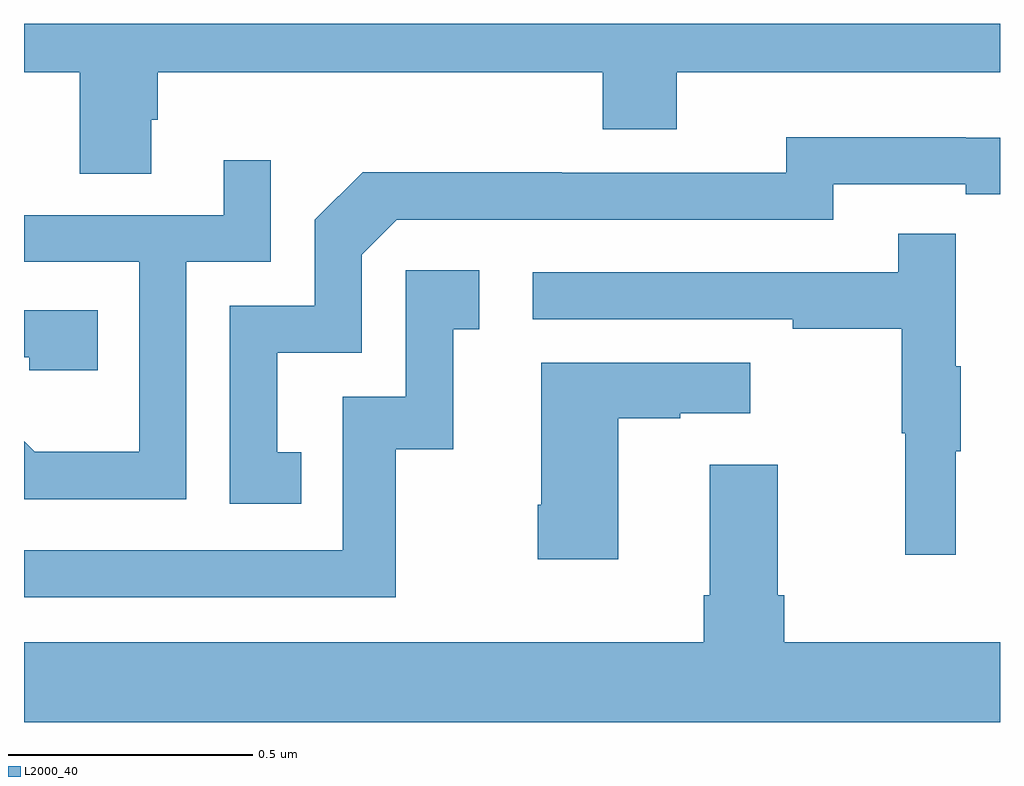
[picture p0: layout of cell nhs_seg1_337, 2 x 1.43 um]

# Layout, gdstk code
import gdstk
lib = gdstk.Library(unit=1e-6, precision=1e-09)
def P(c, l, *ps):  # polygons
    for p in ps: c.add(gdstk.Polygon(p, *l))
L2000_40 = (2000, 40)

nhs_seg1_337 = lib.new_cell('nhs_seg1_337')
P(nhs_seg1_337, L2000_40, [(115.261,517.002),(115.274,517.002),(115.274,517.1),(116.186,517.1),(116.186,516.983),(116.338,516.983),(116.338,517.1),(117,517.1),(117,517.199),(115,517.199),(115,517.1),(115.114,517.1),(115.114,516.892),(115.261,516.892)],
  [(115.568,516.321),(115.519,516.321),(115.519,516.525),(115.692,516.525),(115.692,516.726),(115.764,516.798),(116.658,516.798),(116.658,516.87),(116.93,516.87),(116.93,516.85),(117,516.85),(117,516.966),(116.93,516.966),(116.93,516.967),(116.562,516.967),(116.562,516.894),(116.102,516.894),(116.102,516.895),(115.694,516.895),(115.596,516.798),(115.596,516.621),(115.422,516.621),(115.422,516.216),(115.568,516.216)],
  [(115.332,516.711),(115.506,516.711),(115.506,516.919),(115.409,516.919),(115.409,516.807),(115,516.807),(115,516.711),(115.236,516.711),(115.236,516.322),(115.022,516.322),(115,516.344),(115,516.225),(115.332,516.225)],
  [(116.909,516.323),(116.92,516.323),(116.92,516.497),(116.909,516.497),(116.909,516.769),(116.791,516.769),(116.791,516.69),(116.043,516.69),(116.043,516.594),(116.575,516.594),(116.575,516.574),(116.799,516.574),(116.799,516.36),(116.806,516.36),(116.806,516.111),(116.909,516.111)],
  [(115.762,516.327),(115.88,516.327),(115.88,516.573),(115.933,516.573),(115.933,516.694),(115.782,516.694),(115.782,516.435),(115.653,516.435),(115.653,516.12),(115,516.12),(115,516.024),(115.762,516.024)],
  [(115.151,516.612),(115,516.612),(115,516.516),(115.011,516.516),(115.011,516.489),(115.151,516.489)],
  [(116.218,516.391),(116.345,516.391),(116.345,516.401),(116.488,516.401),(116.488,516.505),(116.06,516.505),(116.06,516.214),(116.053,516.214),(116.053,516.102),(116.218,516.102)],
  [(117,515.932),(116.558,515.932),(116.558,516.028),(116.545,516.028),(116.545,516.295),(116.405,516.295),(116.405,516.028),(116.393,516.028),(116.393,515.932),(115,515.932),(115,515.768),(117,515.768)])

lib.write_gds('nhs_seg1_337.gds')
